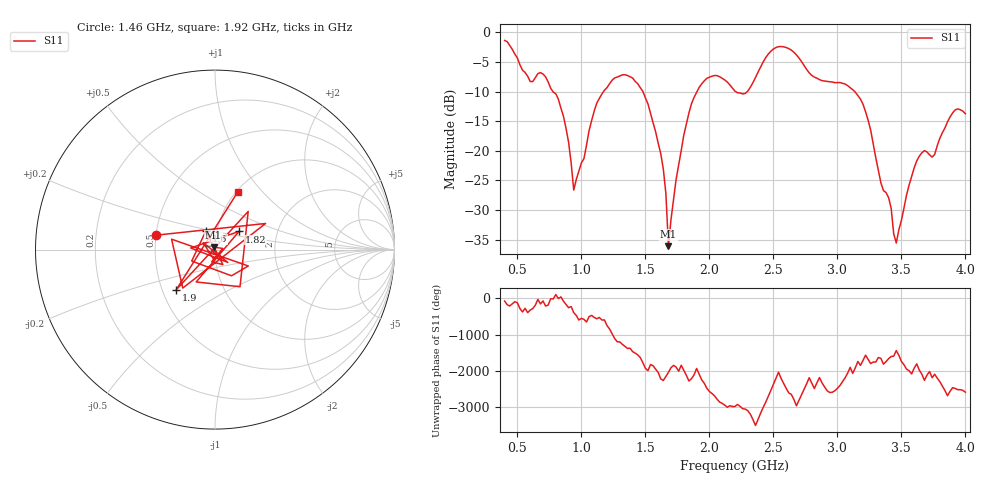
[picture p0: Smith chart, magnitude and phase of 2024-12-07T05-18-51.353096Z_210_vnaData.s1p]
!Created with skrf (http://scikit-rf.org).
# Hz S RI R 50.0
!freq ReS11 ImS11
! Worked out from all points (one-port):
!   181 points, 400 MHz to 4 GHz, reference 50 ohm
!   lowest |S11| = -36.1 dB at 1.68 GHz (marker M1), VSWR 1.03, Z = 49.2 + j1.35 ohm
!   |S11| at or under -10 dB: 777.3 MHz to 1.173 GHz (396.1 MHz wide, 40.6 % of centre); 1.48 GHz to 1.903 GHz (422.7 MHz wide, 25 % of centre); 3.135 GHz to end of sweep (the widest 3 of 4)
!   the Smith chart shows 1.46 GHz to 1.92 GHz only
!   S11 on the Smith chart (normalised r, x): 1.46 GHz: 0.50, +0.09; 1.6 GHz: 0.89, +0.19; 1.82 GHz: 1.28, +0.27; 1.9 GHz: 0.59, -0.29; 1.92 GHz: 1.02, +0.74
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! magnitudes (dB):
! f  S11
! 400 MHz  -1.4
! 600 MHz  -8.3
! 720 MHz  -7.5
! 860 MHz  -14.2
! 940 MHz  -26.6
! 1.12 GHz  -12.0
! 1.3 GHz  -7.4
! 1.46 GHz  -9.3
! 1.6 GHz  -18.7
! 1.66 GHz  -27.2
! 1.68 GHz  -36.1
! 1.76 GHz  -22.4
! 1.82 GHz  -15.5
! 1.9 GHz  -10.1
! 1.92 GHz  -9.3
! 2.06 GHz  -7.3
! 2.2 GHz  -9.9
! 2.3 GHz  -9.9
! 2.5 GHz  -2.8
! 2.66 GHz  -3.4
! 3.1 GHz  -9.3
! 3.24 GHz  -14.8
! 3.34 GHz  -25.4
! 3.42 GHz  -29.7
! 3.46 GHz  -35.5
! 3.56 GHz  -25.8
! 3.9 GHz  -13.6
! 4 GHz  -13.7
